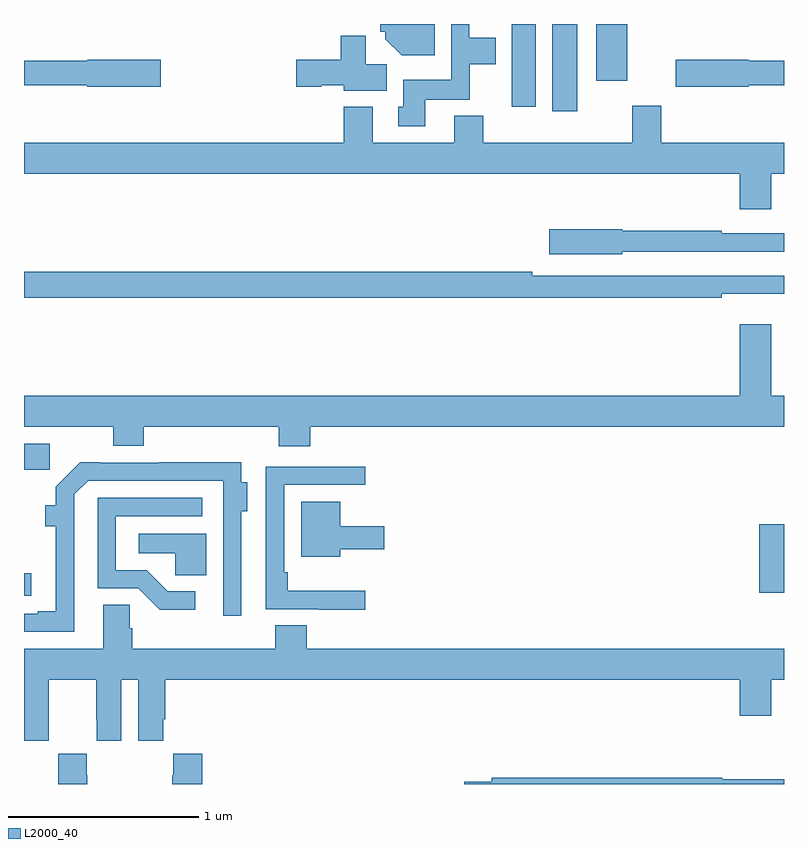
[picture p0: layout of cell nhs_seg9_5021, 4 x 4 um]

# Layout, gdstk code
import gdstk
lib = gdstk.Library(unit=1e-6, precision=1e-09)
def R(c, l, rs):  # rectangles x0, y0, x1, y1
    for r in rs: c.add(gdstk.rectangle(r[:2], r[2:], *l))
def P(c, l, *ps):  # polygons
    for p in ps: c.add(gdstk.Polygon(p, *l))
L2000_40 = (2000, 40)

nhs_seg9_5021 = lib.new_cell('nhs_seg9_5021')
R(nhs_seg9_5021, L2000_40, [(401,1235.49,401.038,1235.61), (404.87,1235.506,405,1235.866), (401,1236.153,401.136,1236.292), (403.781,1238.04,403.912,1238.5), (403.568,1238.064,403.693,1238.5)])
P(nhs_seg9_5021, L2000_40, [(404.176,1238.355),(404.174,1238.355),(404.174,1238.5),(404.012,1238.5),(404.012,1238.202),(404.176,1238.202)],
  [(403.111,1238.102),(403.347,1238.102),(403.347,1238.288),(403.483,1238.288),(403.483,1238.428),(403.344,1238.428),(403.344,1238.5),(403.248,1238.5),(403.248,1238.206),(402.995,1238.206),(402.995,1238.064),(402.971,1238.064),(402.971,1237.962),(403.111,1237.962)],
  [(403.163,1238.5),(402.876,1238.5),(402.876,1238.46),(402.902,1238.46),(402.902,1238.421),(402.987,1238.336),(403.163,1238.336)],
  [(402.91,1238.288),(402.799,1238.288),(402.799,1238.437),(402.668,1238.437),(402.668,1238.312),(402.432,1238.312),(402.432,1238.17),(402.564,1238.17),(402.564,1238.177),(402.684,1238.177),(402.684,1238.15),(402.91,1238.15)],
  [(401.719,1238.312),(401.334,1238.312),(401.334,1238.306),(401,1238.306),(401,1238.178),(401.334,1238.178),(401.334,1238.17),(401.719,1238.17)],
  [(404.814,1238.178),(405,1238.178),(405,1238.306),(404.814,1238.306),(404.814,1238.312),(404.43,1238.312),(404.43,1238.17),(404.814,1238.17)],
  [(402.683,1238.065),(402.683,1237.876),(401,1237.876),(401,1237.712),(404.768,1237.712),(404.768,1237.524),(404.932,1237.524),(404.932,1237.712),(405,1237.712),(405,1237.876),(404.354,1237.876),(404.354,1238.071),(404.201,1238.071),(404.201,1237.876),(403.418,1237.876),(403.418,1238.017),(403.265,1238.017),(403.265,1237.876),(402.835,1237.876),(402.835,1238.065)],
  [(404.148,1237.302),(405,1237.302),(405,1237.398),(404.672,1237.398),(404.672,1237.411),(404.148,1237.411),(404.148,1237.419),(403.764,1237.419),(403.764,1237.289),(404.148,1237.289)],
  [(404.672,1237.079),(405,1237.079),(405,1237.176),(403.676,1237.176),(403.676,1237.196),(401,1237.196),(401,1237.06),(404.672,1237.06)],
  [(402.506,1236.38),(405,1236.38),(405,1236.544),(404.932,1236.544),(404.932,1236.919),(404.768,1236.919),(404.768,1236.544),(401,1236.544),(401,1236.38),(401.47,1236.38),(401.47,1236.281),(401.63,1236.281),(401.63,1236.38),(402.341,1236.38),(402.341,1236.278),(402.506,1236.278)],
  [(401.265,1236.024),(401.337,1236.096),(402.048,1236.096),(402.048,1235.385),(402.144,1235.385),(402.144,1235.936),(402.175,1235.936),(402.175,1236.088),(402.144,1236.088),(402.144,1236.194),(401.713,1236.194),(401.713,1236.192),(401.398,1236.192),(401.398,1236.194),(401.297,1236.194),(401.168,1236.064),(401.168,1235.966),(401.111,1235.966),(401.111,1235.856),(401.168,1235.856),(401.168,1235.41),(401.072,1235.41),(401.072,1235.397),(401,1235.397),(401,1235.301),(401.265,1235.301)],
  [(402.796,1235.518),(402.389,1235.518),(402.389,1235.614),(402.369,1235.614),(402.369,1236.075),(402.796,1236.075),(402.796,1236.171),(402.273,1236.171),(402.273,1235.421),(402.551,1235.421),(402.551,1235.417),(402.796,1235.417)],
  [(401.902,1235.514),(401.757,1235.514),(401.646,1235.625),(401.484,1235.625),(401.484,1235.91),(401.938,1235.91),(401.938,1236.006),(401.388,1236.006),(401.388,1235.529),(401.601,1235.529),(401.714,1235.417),(401.902,1235.417)],
  [(402.664,1235.735),(402.895,1235.735),(402.895,1235.857),(402.664,1235.857),(402.664,1235.986),(402.458,1235.986),(402.458,1235.696),(402.664,1235.696)],
  [(401.959,1235.818),(401.604,1235.818),(401.604,1235.714),(401.796,1235.714),(401.796,1235.6),(401.959,1235.6)],
  [(401.13,1234.84),(401.131,1234.84),(401.131,1235.048),(401.381,1235.048),(401.381,1234.84),(401.382,1234.84),(401.382,1234.728),(401.512,1234.728),(401.512,1235.048),(401.6,1235.048),(401.6,1234.728),(401.734,1234.728),(401.734,1234.84),(401.744,1234.84),(401.744,1235.048),(404.768,1235.048),(404.768,1234.86),(404.932,1234.86),(404.932,1235.048),(405,1235.048),(405,1235.212),(402.488,1235.212),(402.488,1235.336),(402.323,1235.336),(402.323,1235.212),(401.57,1235.212),(401.57,1235.321),(401.556,1235.321),(401.556,1235.444),(401.417,1235.444),(401.417,1235.212),(401,1235.212),(401,1234.728),(401.13,1234.728)],
  [(401.939,1234.66),(401.785,1234.66),(401.785,1234.547),(401.779,1234.547),(401.779,1234.5),(401.939,1234.5)],
  [(401.334,1234.547),(401.331,1234.547),(401.331,1234.66),(401.181,1234.66),(401.181,1234.547),(401.179,1234.547),(401.179,1234.5),(401.334,1234.5)],
  [(405,1234.525),(404.676,1234.525),(404.676,1234.532),(403.462,1234.532),(403.462,1234.512),(403.316,1234.512),(403.316,1234.5),(405,1234.5)])

lib.write_gds('nhs_seg9_5021.gds')
